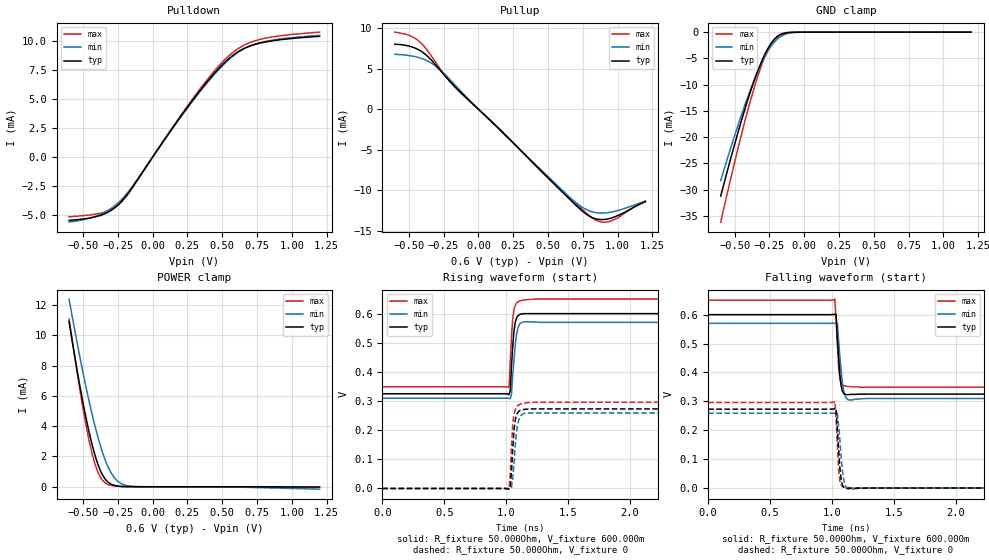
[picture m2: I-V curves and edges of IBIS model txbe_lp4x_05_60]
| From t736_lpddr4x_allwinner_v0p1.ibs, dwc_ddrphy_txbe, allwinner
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[Model] txbe_lp4x_05_60
Model_type   I/O
Polarity   Non-Inverting
Enable   Active-High
C_comp   1.523pF   1.517pF   1.527pF
C_comp_pullup   281.396fF   276.622fF   283.141fF
C_comp_pulldown 1.179pF   1.179pF   1.183pF
Vinh = 360.000mV
Vinl = 307.000mV
Vmeas = 300.000mV
Vref = 300.000mV
Rref = 50Ohms
Cref = 0pF
[Model Spec]
Vinh   360.000mV   345.000mV   450.000mV
Vinl   307.000mV   293.000mV   330.000mV
Vmeas   300.000mV   285.000mV   325.000mV
Vref   300.000mV   285.000mV   325.000mV
D_overshoot_ampl_h 0.1 NA   NA
D_overshoot_ampl_l 0.1 NA   NA
D_overshoot_area_l 300.000m NA   NA
D_overshoot_area_h 300.000m NA   NA
[Receiver Thresholds]
Vth = 163.000mV
Vth_min = 143.000mV
Vth_max = 150.000mV
Vinh_ac = 60.000mV
Vinh_dc = 60.000mV
Vinl_ac = -60.000mV
Vinl_dc = -60.000mV
Tslew_ac = 5.000ns
Threshold_sensitivity = 0.5
Reference_supply Pullup_ref
[Temperature Range]   25.000   125.000   -40.000
[Voltage Range]   600.000mV   570.000mV   650.000mV
[GND Clamp Reference]   0.00V   0.00V   0.00V
[C Comp Corner]
| variable   typ   min   max
C_comp 1.523pF   1.527pF   1.517pF
C_comp_pullup 281.396fF   283.141fF   276.622fF
C_comp_pulldown 1.179pF   1.183pF   1.179pF
[Pulldown Reference]   0.00V   0.00V   0.00V
[POWER Clamp Reference]   600.000mV   570.000mV   650.000mV
[Pullup Reference]   600.000mV   570.000mV   650.000mV
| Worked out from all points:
|   slope of the pulldown table from 0 to 0.09 V, typ, clamps not added: 56.5 ohm
|   slope of the pullup table from 0 to 0.09 V, typ, clamps not added: 62.1 ohm
|   GND clamp passes 1 mA (typ) near -0.20 V on its own axis
|   POWER clamp passes 1 mA (typ) near -0.37 V on its own axis
|   rising waveform, R_fixture 50.000Ohm, V_fixture 600.000m: 20-80 % time 26.7ps typ, 31.8ps min, 24.8ps max; typ from 0.325 V to 0.6 V
|   rising waveform, R_fixture 50.000Ohm, V_fixture 0: 20-80 % time 26.6ps typ, 31.8ps min, 24.1ps max; typ from 0 V to 0.273 V
|   falling waveform, R_fixture 50.000Ohm, V_fixture 600.000m: 20-80 % time 27ps typ, 32.8ps min, 23.6ps max; typ from 0.6 V to 0.325 V
|   falling waveform, R_fixture 50.000Ohm, V_fixture 0: 20-80 % time 25.8ps typ, 31.8ps min, 21.1ps max; typ from 0.273 V to 0 V
[GND Clamp]
-600mV    -31.22mA   -28.27mA   -36.19mA
-520mV    -23.28mA   -21.37mA   -26.99mA
-450mV    -16.74mA   -15.69mA   -19.38mA
-390mV    -11.62mA   -11.22mA   -13.38mA
-350mV    -8.525mA   -8.504mA   -9.76mA
-300mV    -5.19mA    -5.531mA   -5.831mA
-260mV    -3.064mA   -3.57mA    -3.325mA
-230mV    -1.852mA   -2.39mA    -1.909mA
-190mV    -786.8uA   -1.239mA   -707.9uA
-130mV    -143.8uA   -342.1uA   -87.78uA
-40mV     -4.532uA   -19.09uA   -1.525uA
1.2V      1.311uA    15.49uA    381.8nA
[Power Clamp]
-600mV    10.91mA    12.39mA    11.07mA
-540mV    7.576mA    9.402mA    7.435mA
-490mV    5.088mA    7.093mA    4.645mA
-450mV    3.363mA    5.394mA    2.787mA
-410mV    1.961mA    3.868mA    1.391mA
-370mV    961.9uA    2.559mA    550.9uA
-340mV    496.2uA    1.753mA    248.6uA
-300mV    180.3uA    945.4uA    90.25uA
-250mV    46.9uA     359uA      29.19uA
-190mV    8.475uA    89.17uA    6.144uA
-120mV    854.5nA    14.07uA    451.4nA
1.2V      -21.99uA   -159.5uA   -4.464uA
[Pulldown]
-600mV    -5.46mA    -5.61mA    -5.14mA
-370mV    -5.01mA    -4.905mA   -4.82mA
-300mV    -4.604mA   -4.436mA   -4.526mA
-230mV    -3.912mA   -3.745mA   -3.936mA
-150mV    -2.692mA   -2.605mA   -2.742mA
110mV     1.941mA    1.911mA    1.979mA
310mV     5.264mA    5.186mA    5.39mA
460mV     7.46mA     7.357mA    7.665mA
570mV     8.724mA    8.649mA    8.974mA
680mV     9.502mA    9.5mA      9.791mA
790mV     9.895mA    9.937mA    10.22mA
1.2V      10.43mA    10.51mA    10.8mA
[Pullup]
-600mV    7.98mA     6.74mA     9.479mA
-500mV    7.77mA     6.597mA    9.083mA
-430mV    7.311mA    6.351mA    8.406mA
-370mV    6.58mA     5.961mA    7.313mA
-300mV    5.299mA    5.205mA    5.581mA
-150mV    2.447mA    2.652mA    2.381mA
640mV     -10.81mA   -10.58mA   -10.66mA
750mV     -12.58mA   -12.11mA   -12.4mA
830mV     -13.42mA   -12.68mA   -13.5mA
880mV     -13.58mA   -12.78mA   -13.87mA
950mV     -13.42mA   -12.68mA   -13.77mA
1.2V      -11.37mA   -11.34mA   -11.29mA
[Ramp]
R_load=50.000Ohm
dV/dt_r   164.387mV/27.000ps  155.599mV/32.000ps  179.098mV/24.000ps
dV/dt_f   164.386mV/26.500ps  155.598mV/33.000ps  179.097mV/22.500ps
[Rising waveform]
R_fixture=50.000Ohm
V_fixture=600.000m
V_fixture_min=570.000m
V_fixture_max=650.000m
0s        325mV      310mV      349mV
1.023ns   322mV      309mV      347mV
1.033ns   336mV      308mV      430mV
1.043ns   419mV      323mV      520mV
1.053ns   487mV      388mV      583mV
1.063ns   539mV      439mV      613mV
1.083ns   584mV      526mV      635mV
1.103ns   595mV      560mV      642mV
1.183ns   600mV      572mV      649mV
10ns      600mV      570mV      650mV
[Rising waveform]
R_fixture=50.000Ohm
V_fixture=0
0s        42.47uV    337.3uV    8.225uV
1.023ns   -2.314mV   -472uV     -2.342mV
1.033ns   3.512mV    -2.071mV   51.41mV
1.043ns   58.1mV     3.193mV    145mV
1.053ns   131mV      34.08mV    220mV
1.063ns   197mV      80.92mV    254mV
1.083ns   251mV      191mV      279mV
1.103ns   265mV      237mV      287mV
1.183ns   272mV      259mV      295mV
10ns      273mV      259mV      296mV
[Falling waveform]
R_fixture=50.000Ohm
V_fixture=600.000m
V_fixture_min=570.000m
V_fixture_max=650.000m
0s        600mV      570mV      650mV
1.023ns   602mV      570mV      654mV
1.033ns   602mV      572mV      583mV
1.043ns   519mV      572mV      502mV
1.053ns   460mV      514mV      420mV
1.063ns   395mV      458mV      379mV
1.083ns   336mV      368mV      358mV
1.103ns   325mV      322mV      354mV
1.163ns   324mV      305mV      350mV
10ns      325mV      310mV      349mV
[Falling waveform]
R_fixture=50.000Ohm
V_fixture=0
0s        273mV      259mV      296mV
1.023ns   275mV      259mV      300mV
1.033ns   276mV      261mV      242mV
1.043ns   210mV      261mV      151mV
1.053ns   143mV      217mV      65.95mV
1.063ns   73.12mV    173mV      26.02mV
1.073ns   31.83mV    114mV      11.28mV
1.093ns   2.827mV    33.39mV    3.995mV
1.133ns   -1.444mV   -3.135mV   1.316mV
10ns      47.42uV    338.4uV    10.36uV
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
